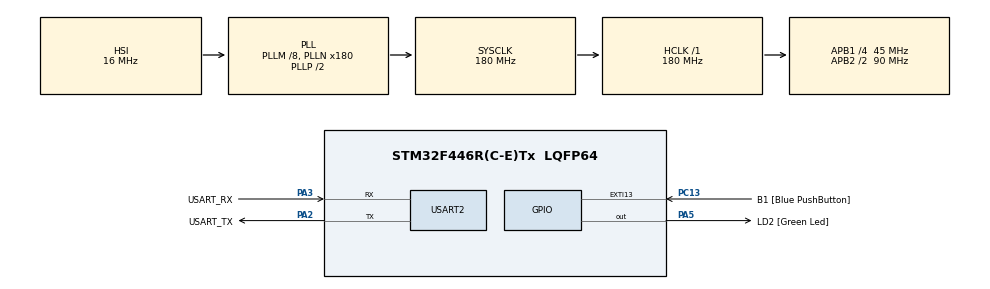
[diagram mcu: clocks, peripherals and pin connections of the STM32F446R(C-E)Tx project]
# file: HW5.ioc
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Mcu.Family=STM32F4
Mcu.Name=STM32F446R(C-E)Tx
Mcu.Package=LQFP64
NVIC.PriorityGroup=NVIC_PRIORITYGROUP_0
PA13.GPIO_Label=TMS
PA13.Mode=Serial_Wire
PA13.Signal=SYS_JTMS-SWDIO
PA14.GPIO_Label=TCK
PA14.Mode=Serial_Wire
PA14.Signal=SYS_JTCK-SWCLK
PA2.GPIO_Label=USART_TX
PA2.Mode=Asynchronous
PA2.Signal=USART2_TX
PA3.GPIO_Label=USART_RX
PA3.Mode=Asynchronous
PA3.Signal=USART2_RX
PA5.GPIO_Label=LD2 [Green Led]
PA5.Signal=GPIO_Output
PB3.GPIO_Label=SWO
PB3.Signal=SYS_JTDO-SWO
PC13.GPIO_Label=B1 [Blue PushButton]
PC13.GPIO_ModeDefaultEXTI=GPIO_MODE_IT_FALLING
PC13.Signal=GPXTI13
PC14-OSC32_IN.Mode=LSE-External-Oscillator
PC14-OSC32_IN.Signal=RCC_OSC32_IN
PC15-OSC32_OUT.Mode=LSE-External-Oscillator
PC15-OSC32_OUT.Signal=RCC_OSC32_OUT
PH0-OSC_IN.Mode=HSE-External-Clock-Source
PH0-OSC_IN.Signal=RCC_OSC_IN
PH1-OSC_OUT.Mode=HSE-External-Clock-Source
PH1-OSC_OUT.Signal=RCC_OSC_OUT
ProjectManager.HeapSize=0x200
ProjectManager.StackSize=0x400
ProjectManager.TargetToolchain=STM32CubeIDE
RCC.48MHZClocksFreq_Value=84000000
RCC.AHBFreq_Value=180000000
RCC.APB1CLKDivider=RCC_HCLK_DIV4
RCC.APB1Freq_Value=45000000
RCC.APB1TimFreq_Value=90000000
RCC.APB2CLKDivider=RCC_HCLK_DIV2
RCC.APB2Freq_Value=90000000
RCC.APB2TimFreq_Value=180000000
RCC.CortexFreq_Value=180000000
RCC.FLatency-AdvancedSettings=FLASH_LATENCY_5
RCC.HCLKFreq_Value=180000000
RCC.HSE_VALUE=8000000
RCC.HSI_VALUE=16000000
RCC.PLLM=8
RCC.PLLN=180
RCC.SYSCLKFreq_VALUE=180000000
RCC.SYSCLKSource=RCC_SYSCLKSOURCE_PLLCLK
RCC.USBFreq_Value=180000000
RCC.VCOOutputFreq_Value=360000000
USART2.VirtualMode=VM_ASYNC
board=NUCLEO-F446RE

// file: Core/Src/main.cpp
/* USER CODE BEGIN Header */
/**
  ******************************************************************************
  * @file           : main.cpp
  * @brief          : EE4065 Homework 5 - Combined KWS and HDR on STM32 F446RE
  *
  * SIMPLIFIED VERSION - No TensorFlow Lite dependency!
  * Implements MLP inference directly using extracted weights.
  *
  * Protocol:
  *   - '1': Select KWS mode (Keyword Spotting)
  *   - '2': Select HDR mode (Handwritten Digit Recognition)
  *   - 'i': Show info
  *   - '?': Show menu
  *   - 0xAA: Start inference (send ACK, receive features, return predictions)
  ******************************************************************************
  */
/* USER CODE END Header */

#include "main.h"
#include <stdio.h>
#include <string.h>
#include <math.h>

/* USER CODE BEGIN Includes */
// Model weights (extracted from Keras models)
#include "kws_weights.h"
#include "hdr_weights.h"
/* USER CODE END Includes */

/* USER CODE BEGIN PTD */
typedef enum {
    MODE_IDLE = 0,
    MODE_KWS,       // Q1: Keyword Spotting (26 features)
    MODE_HDR        // Q2: Handwritten Digit Recognition (7 features)
} OperationMode;
/* USER CODE END PTD */

/* USER CODE BEGIN PD */
// Feature sizes
#define NUM_FEATURES_KWS    26
#define NUM_FEATURES_HDR    7
#define NUM_CLASSES         10

// Protocol bytes
#define SYNC_BYTE           0xAA
#define ACK_BYTE            0x55

// Maximum layer size (100 neurons in hidden layers)
#define MAX_LAYER_SIZE      100

/* USER CODE END PD */

// NOTE: If you have usart.c from CubeIDE, use: extern UART_HandleTypeDef huart2;
// If you removed usart.c, uncomment the line below:
extern UART_HandleTypeDef huart2;

/* USER CODE BEGIN PV */
// Working buffers for inference
static float layer_input[MAX_LAYER_SIZE];
static float layer_output[MAX_LAYER_SIZE];

// Current mode
static OperationMode current_mode = MODE_IDLE;

/* USER CODE END PV */

void SystemClock_Config(void);
static void MX_GPIO_Init(void);
static void MX_USART2_UART_Init(void);

/* USER CODE BEGIN PFP */
static void RunKWSInference(void);
static void RunHDRInference(void);
static void PrintMenu(void);
static void PrintInfo(void);

// MLP inference functions
static void MatMulAdd(const float* input, const float* weights, const float* bias,
                      float* output, int input_size, int output_size);
static void ReLU(float* data, int size);
static void Softmax(float* data, int size);

/* USER CODE END PFP */

/* USER CODE BEGIN 0 */

// Printf redirect to UART
#ifdef __GNUC__
extern "C" int __io_putchar(int ch)
{
    HAL_UART_Transmit(&huart2, (uint8_t*)&ch, 1, HAL_MAX_DELAY);
    return ch;
}
#endif

/**
  * @brief Matrix multiplication with bias addition: output = input * weights + bias
  */
static void MatMulAdd(const float* input, const float* weights, const float* bias,
                      float* output, int input_size, int output_size)
{
    for (int j = 0; j < output_size; j++) {
        float sum = bias[j];
        for (int i = 0; i < input_size; i++) {
            // weights stored in row-major: weights[i * output_size + j]
            sum += input[i] * weights[i * output_size + j];
        }
        output[j] = sum;
    }
}

/**
  * @brief ReLU activation: output = max(0, input)
  */
static void ReLU(float* data, int size)
{
    for (int i = 0; i < size; i++) {
        if (data[i] < 0.0f) {
            data[i] = 0.0f;
        }
    }
}

/**
  * @brief Softmax activation: output = exp(input) / sum(exp(input))
  */
static void Softmax(float* data, int size)
{
    // Find max for numerical stability
    float max_val = data[0];
    for (int i = 1; i < size; i++) {
        if (data[i] > max_val) {
            max_val = data[i];
        }
    }

    // Compute exp(x - max) and sum
    float sum = 0.0f;
    for (int i = 0; i < size; i++) {
        data[i] = expf(data[i] - max_val);
        sum += data[i];
    }

    // Normalize
    for (int i = 0; i < size; i++) {
        data[i] /= sum;
    }
}

/**
  * @brief Run KWS MLP inference
  *        Architecture: 26 -> 100 (ReLU) -> 100 (ReLU) -> 10 (Softmax)
  */
static void RunKWSInference(void)
{
    float features[NUM_FEATURES_KWS];
    float predictions[NUM_CLASSES];
    uint8_t ack = ACK_BYTE;

    // Send ACK
    HAL_UART_Transmit(&huart2, &ack, 1, HAL_MAX_DELAY);

    // Receive features (26 floats = 104 bytes)
    HAL_StatusTypeDef status = HAL_UART_Receive(&huart2, (uint8_t*)features,
                                                 NUM_FEATURES_KWS * sizeof(float), 2000);
    if (status != HAL_OK) {
        printf("ERROR: Feature receive timeout!\r\n");
        return;
    }

    uint32_t start = HAL_GetTick();

    // Layer 0: Input(26) -> Hidden1(100), ReLU
    MatMulAdd(features, kws_layer0_weights, kws_layer0_bias,
              layer_output, KWS_LAYER0_INPUT_SIZE, KWS_LAYER0_OUTPUT_SIZE);
    ReLU(layer_output, KWS_LAYER0_OUTPUT_SIZE);

    // Copy for next layer
    memcpy(layer_input, layer_output, KWS_LAYER0_OUTPUT_SIZE * sizeof(float));

    // Layer 1: Hidden1(100) -> Hidden2(100), ReLU
    MatMulAdd(layer_input, kws_layer1_weights, kws_layer1_bias,
              layer_output, KWS_LAYER1_INPUT_SIZE, KWS_LAYER1_OUTPUT_SIZE);
    ReLU(layer_output, KWS_LAYER1_OUTPUT_SIZE);

    // Copy for next layer
    memcpy(layer_input, layer_output, KWS_LAYER1_OUTPUT_SIZE * sizeof(float));

    // Layer 2: Hidden2(100) -> Output(10), Softmax
    MatMulAdd(layer_input, kws_layer2_weights, kws_layer2_bias,
              predictions, KWS_LAYER2_INPUT_SIZE, KWS_LAYER2_OUTPUT_SIZE);
    Softmax(predictions, NUM_CLASSES);

    uint32_t elapsed = HAL_GetTick() - start;

    // Send predictions back (10 floats = 40 bytes)
    HAL_UART_Transmit(&huart2, (uint8_t*)predictions, NUM_CLASSES * sizeof(float), HAL_MAX_DELAY);

    // Find argmax and print
    int predicted = 0;
    float max_prob = predictions[0];
    for (int i = 1; i < NUM_CLASSES; i++) {
        if (predictions[i] > max_prob) {
            max_prob = predictions[i];
            predicted = i;
        }
    }
    printf("KWS: Digit=%d (%.1f%%) Time=%lums\r\n", predicted, max_prob * 100.0f, elapsed);
}

/**
  * @brief Run HDR MLP inference
  *        Architecture: 7 -> 100 (ReLU) -> 100 (ReLU) -> 10 (Softmax)
  */
static void RunHDRInference(void)
{
    float features[NUM_FEATURES_HDR];
    float predictions[NUM_CLASSES];
    uint8_t ack = ACK_BYTE;

    // Send ACK
    HAL_UART_Transmit(&huart2, &ack, 1, HAL_MAX_DELAY);

    // Receive features (7 floats = 28 bytes)
    HAL_StatusTypeDef status = HAL_UART_Receive(&huart2, (uint8_t*)features,
                                                 NUM_FEATURES_HDR * sizeof(float), 2000);
    if (status != HAL_OK) {
        printf("ERROR: Feature receive timeout!\r\n");
        return;
    }

    uint32_t start = HAL_GetTick();

    // Layer 0: Input(7) -> Hidden1(100), ReLU
    MatMulAdd(features, hdr_layer0_weights, hdr_layer0_bias,
              layer_output, HDR_LAYER0_INPUT_SIZE, HDR_LAYER0_OUTPUT_SIZE);
    ReLU(layer_output, HDR_LAYER0_OUTPUT_SIZE);

    // Copy for next layer
    memcpy(layer_input, layer_output, HDR_LAYER0_OUTPUT_SIZE * sizeof(float));

    // Layer 1: Hidden1(100) -> Hidden2(100), ReLU
    MatMulAdd(layer_input, hdr_layer1_weights, hdr_layer1_bias,
              layer_output, HDR_LAYER1_INPUT_SIZE, HDR_LAYER1_OUTPUT_SIZE);
    ReLU(layer_output, HDR_LAYER1_OUTPUT_SIZE);

    // Copy for next layer
    memcpy(layer_input, layer_output, HDR_LAYER1_OUTPUT_SIZE * sizeof(float));

    // Layer 2: Hidden2(100) -> Output(10), Softmax
    MatMulAdd(layer_input, hdr_layer2_weights, hdr_layer2_bias,
              predictions, HDR_LAYER2_INPUT_SIZE, HDR_LAYER2_OUTPUT_SIZE);
    Softmax(predictions, NUM_CLASSES);

    uint32_t elapsed = HAL_GetTick() - start;

    // Send predictions back (10 floats = 40 bytes)
    HAL_UART_Transmit(&huart2, (uint8_t*)predictions, NUM_CLASSES * sizeof(float), HAL_MAX_DELAY);

    // Find argmax and print
    int predicted = 0;
    float max_prob = predictions[0];
    for (int i = 1; i < NUM_CLASSES; i++) {
        if (predictions[i] > max_prob) {
            max_prob = predictions[i];
            predicted = i;
        }
    }
    printf("HDR: Digit=%d (%.1f%%) Time=%lums\r\n", predicted, max_prob * 100.0f, elapsed);
}

/**
  * @brief Print menu
  */
static void PrintMenu(void)
{
    printf("\r\n");
    printf("============================================\r\n");
    printf("  EE4065 HW5 - STM32 Nucleo-F446RE\r\n");
    printf("  (Custom MLP Inference - No TFLite)\r\n");
    printf("============================================\r\n");
    printf("  Current Mode: ");
    switch(current_mode) {
        case MODE_KWS: printf("Q1 - Keyword Spotting\r\n"); break;
        case MODE_HDR: printf("Q2 - Digit Recognition\r\n"); break;
        default: printf("IDLE\r\n"); break;
    }
    printf("--------------------------------------------\r\n");
    printf("  Commands:\r\n");
    printf("    1 - Select Q1 (Keyword Spotting)\r\n");
    printf("    2 - Select Q2 (Handwritten Digit)\r\n");
    printf("    i - System info\r\n");
    printf("    ? - This menu\r\n");
    printf("============================================\r\n");
}

/**
  * @brief Print system info
  */
static void PrintInfo(void)
{
    printf("\r\n>>> System Info:\r\n");
    printf("  MCU: STM32F446RE\r\n");
    printf("  Clock: %lu MHz\r\n", HAL_RCC_GetSysClockFreq() / 1000000);
    printf("  KWS Model: 26->100->100->10 MLP\r\n");
    printf("  HDR Model: 7->100->100->10 MLP\r\n");
    printf("  Inference: Custom (No TFLite)\r\n");
    printf("  Mode: %s\r\n", current_mode == MODE_KWS ? "KWS" :
                            current_mode == MODE_HDR ? "HDR" : "IDLE");
}

/* USER CODE END 0 */

int main(void)
{
    /* MCU Configuration */
    HAL_Init();
    SystemClock_Config();
    MX_GPIO_Init();
    MX_USART2_UART_Init();

    /* USER CODE BEGIN 2 */
    HAL_Delay(100);

    // Welcome message
    printf("\r\n\r\n");
    printf("********************************************\r\n");
    printf("*  EE4065 Embedded Machine Learning HW5   *\r\n");
    printf("*  STM32 Nucleo-F446RE                    *\r\n");
    printf("*  Custom MLP Inference Engine            *\r\n");
    printf("********************************************\r\n");

    // Default to KWS mode
    current_mode = MODE_KWS;

    PrintMenu();
    printf("\r\nReady. Waiting for commands...\r\n");

    /* USER CODE END 2 */

    /* Infinite loop */
    /* USER CODE BEGIN WHILE */
    uint8_t rx_byte;

    while (1)
    {
        // Wait for incoming byte
        if (HAL_UART_Receive(&huart2, &rx_byte, 1, 100) == HAL_OK)
        {
            // Handle command
            switch (rx_byte)
            {
                case '1':
                    // Select KWS mode
                    current_mode = MODE_KWS;
                    printf("Mode: Q1 - Keyword Spotting (26 MFCC features)\r\n");
                    break;

                case '2':
                    // Select HDR mode
                    current_mode = MODE_HDR;
                    printf("Mode: Q2 - Handwritten Digit Recognition (7 Hu Moments)\r\n");
                    break;

                case 'i':
                case 'I':
                    PrintInfo();
                    break;

                case '?':
                    PrintMenu();
                    break;

                case SYNC_BYTE:
                    // Inference request from PC
                    if (current_mode == MODE_KWS) {
                        RunKWSInference();
                    } else if (current_mode == MODE_HDR) {
                        RunHDRInference();
                    } else {
                        printf("ERROR: No mode selected!\r\n");
                    }
                    break;

                case '\r':
                case '\n':
                    // Ignore newlines
                    break;

                default:
                    // Unknown command - ignore
                    break;
            }
        }

        // Blink LED to show we're alive
        static uint32_t last_blink = 0;
        if (HAL_GetTick() - last_blink > 1000) {
            HAL_GPIO_TogglePin(GPIOA, GPIO_PIN_5);
            last_blink = HAL_GetTick();
        }
    }
    /* USER CODE END WHILE */
    /* USER CODE END 3 */
}

void SystemClock_Config(void)
{
    RCC_OscInitTypeDef RCC_OscInitStruct = {0};
    RCC_ClkInitTypeDef RCC_ClkInitStruct = {0};

    __HAL_RCC_PWR_CLK_ENABLE();
    __HAL_PWR_VOLTAGESCALING_CONFIG(PWR_REGULATOR_VOLTAGE_SCALE1);

    RCC_OscInitStruct.OscillatorType = RCC_OSCILLATORTYPE_HSI;
    RCC_OscInitStruct.HSIState = RCC_HSI_ON;
    RCC_OscInitStruct.HSICalibrationValue = RCC_HSICALIBRATION_DEFAULT;
    RCC_OscInitStruct.PLL.PLLState = RCC_PLL_ON;
    RCC_OscInitStruct.PLL.PLLSource = RCC_PLLSOURCE_HSI;
    RCC_OscInitStruct.PLL.PLLM = 8;
    RCC_OscInitStruct.PLL.PLLN = 180;
    RCC_OscInitStruct.PLL.PLLP = RCC_PLLP_DIV2;
    RCC_OscInitStruct.PLL.PLLQ = 2;
    RCC_OscInitStruct.PLL.PLLR = 2;
    if (HAL_RCC_OscConfig(&RCC_OscInitStruct) != HAL_OK) {
        Error_Handler();
    }

    if (HAL_PWREx_EnableOverDrive() != HAL_OK) {
        Error_Handler();
    }

    RCC_ClkInitStruct.ClockType = RCC_CLOCKTYPE_HCLK|RCC_CLOCKTYPE_SYSCLK
                                |RCC_CLOCKTYPE_PCLK1|RCC_CLOCKTYPE_PCLK2;
    RCC_ClkInitStruct.SYSCLKSource = RCC_SYSCLKSOURCE_PLLCLK;
    RCC_ClkInitStruct.AHBCLKDivider = RCC_SYSCLK_DIV1;
    RCC_ClkInitStruct.APB1CLKDivider = RCC_HCLK_DIV4;
    RCC_ClkInitStruct.APB2CLKDivider = RCC_HCLK_DIV2;

    if (HAL_RCC_ClockConfig(&RCC_ClkInitStruct, FLASH_LATENCY_5) != HAL_OK) {
        Error_Handler();
    }
}

/**
  * @brief USART2 Initialization - 115200 baud
  */
static void MX_USART2_UART_Init(void)
{
    huart2.Instance = USART2;
    huart2.Init.BaudRate = 115200;
    huart2.Init.WordLength = UART_WORDLENGTH_8B;
    huart2.Init.StopBits = UART_STOPBITS_1;
    huart2.Init.Parity = UART_PARITY_NONE;
    huart2.Init.Mode = UART_MODE_TX_RX;
    huart2.Init.HwFlowCtl = UART_HWCONTROL_NONE;
    huart2.Init.OverSampling = UART_OVERSAMPLING_16;
    if (HAL_UART_Init(&huart2) != HAL_OK) {
        Error_Handler();
    }
}

/**
  * @brief GPIO Initialization
  */
static void MX_GPIO_Init(void)
{
    GPIO_InitTypeDef GPIO_InitStruct = {0};

    __HAL_RCC_GPIOC_CLK_ENABLE();
    __HAL_RCC_GPIOH_CLK_ENABLE();
    __HAL_RCC_GPIOA_CLK_ENABLE();
    __HAL_RCC_GPIOB_CLK_ENABLE();

    // LED (PA5 on Nucleo-F446RE)
    HAL_GPIO_WritePin(GPIOA, GPIO_PIN_5, GPIO_PIN_RESET);
    GPIO_InitStruct.Pin = GPIO_PIN_5;
    GPIO_InitStruct.Mode = GPIO_MODE_OUTPUT_PP;
    GPIO_InitStruct.Pull = GPIO_NOPULL;
    GPIO_InitStruct.Speed = GPIO_SPEED_FREQ_LOW;
    HAL_GPIO_Init(GPIOA, &GPIO_InitStruct);

    // Button (PC13 on Nucleo-F446RE)
    GPIO_InitStruct.Pin = GPIO_PIN_13;
    GPIO_InitStruct.Mode = GPIO_MODE_IT_FALLING;
    GPIO_InitStruct.Pull = GPIO_NOPULL;
    HAL_GPIO_Init(GPIOC, &GPIO_InitStruct);
}

/**
  * @brief Error Handler
  */
void Error_Handler(void)
{
    __disable_irq();
    while (1) {
        HAL_GPIO_TogglePin(GPIOA, GPIO_PIN_5);
        for(volatile int i = 0; i < 100000; i++);
    }
}
